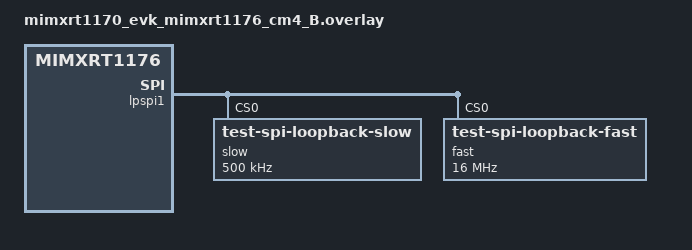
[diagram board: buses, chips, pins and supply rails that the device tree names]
/*
 * Copyright (c) 2022 Kumar Gala <galak@kernel.org>
 * Copyright (c) 2024 NXP
 *
 * SPDX-License-Identifier: Apache-2.0
 */

#include <zephyr/dt-bindings/memory-attr/memory-attr-arm.h>

&sram1 {
	zephyr,memory-attr = <DT_MEM_ARM(ATTR_MPU_RAM_NOCACHE)>;
};

tst_dma0: &edma_lpsr0 {};

&lpspi1 {
	slow@0 {
		compatible = "test-spi-loopback-slow";
		reg = <0>;
		spi-max-frequency = <500000>;
	};
	fast@0 {
		compatible = "test-spi-loopback-fast";
		reg = <0>;
		spi-max-frequency = <16000000>;
	};
	transfer-delay = <100>;
	pcs-sck-delay = <100>;
	sck-pcs-delay = <100>;
};
